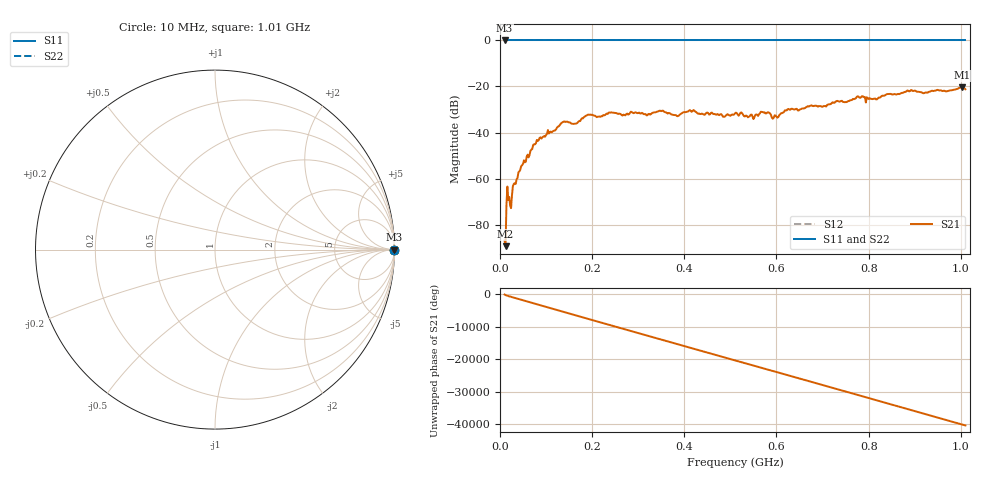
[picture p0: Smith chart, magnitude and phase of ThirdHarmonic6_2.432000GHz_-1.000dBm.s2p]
! 8/17/2025 4:13:21 AM
! C:\ANRITSUVNA\TEMP\TEMP.S2P
! CHANNEL.1
! TR.MEASUREMENT
! RAW.DATA
! RF.CORRECTION.OFF
! AVERAGING.OFF
! IF.BANDWIDTH: 5KHZ
! SWEEPTYPE:  FREQ.SWEEP(Linear)
! Reference Plane Port Info
! PORT:  PORT1  PORT2
! DISTANCE:  0  m  0  m
! TIME:  0  s  0  s
! PHASE.OFFSET:  0  deg.  0  deg.
! LOSS:  0  dB  0  dB
! REF.LOSS:  0  dB  0  dB
! REF.FREQ:  0  Hz  0  Hz
! Power Info
! POWER:  -20  dBm  -20  dBm
! EFF.POWER:  -20  dBm  -20  dBm
! SOURCE.ATTEN:  0  dB  0  dB
! TEST.ATTEN:  0  dB  0  dB
# GHZ S RI R 50.0
! FREQ.GHZ  S11RE  S11IM  S21RE  S21IM  S12RE  S12IM  S22RE  S22IM
!; PortSelection: Port_12
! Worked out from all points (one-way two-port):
!   501 points, 10 MHz to 1.01 GHz, reference 50 ohm
!   highest |S21| = -20.40 dB at 1.002 GHz (marker M1); lowest = -89.4 dB at 12 MHz (marker M2)
!   lowest |S11| = 0.0 dB at 10 MHz (marker M3)
!   |S11| at or under -10 dB: nowhere
!   |S22| runs from 0.0 to 0.0 dB; largest |S21 - S12| = 1.1
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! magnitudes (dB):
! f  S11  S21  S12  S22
! 10 MHz  0.0  -87.0  0.0  0.0
! 12 MHz  0.0  -89.4  0.0  0.0
! 18 MHz  0.0  -69.3  0.0  0.0
! 22 MHz  0.0  -71.7  0.0  0.0
! 44 MHz  0.0  -56.2  0.0  0.0
! 76 MHz  0.0  -45.1  0.0  0.0
! 136 MHz  0.0  -35.5  0.0  0.0
! 162 MHz  0.0  -36.2  0.0  0.0
! 178 MHz  0.0  -33.8  0.0  0.0
! 240 MHz  0.0  -31.4  0.0  0.0
! 344 MHz  0.0  -30.7  0.0  0.0
! 384 MHz  0.0  -32.9  0.0  0.0
! 416 MHz  0.0  -31.0  0.0  0.0
! 510 MHz  0.0  -31.7  0.0  0.0
! 552 MHz  0.0  -33.4  0.0  0.0
! 570 MHz  0.0  -31.1  0.0  0.0
! 594 MHz  0.0  -33.6  0.0  0.0
! 622 MHz  0.0  -30.4  0.0  0.0
! 678 MHz  0.0  -28.4  0.0  0.0
! 844 MHz  0.0  -23.3  0.0  0.0
! 1.002 GHz  0.0  -20.4  0.0  0.0
! 1.01 GHz  0.0  -21.2  0.0  0.0
